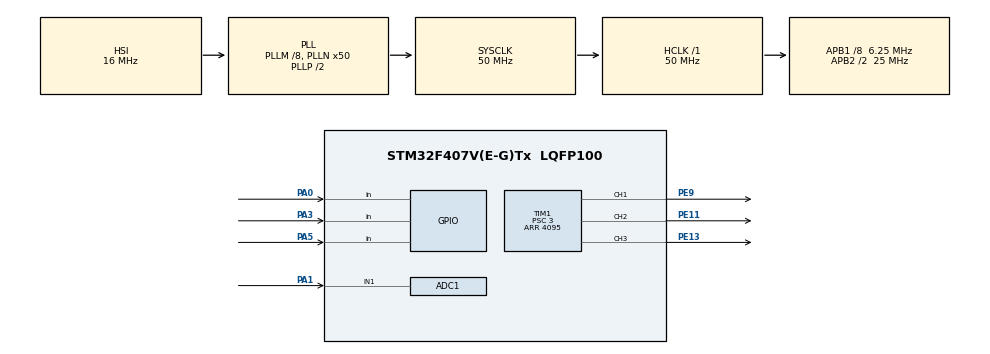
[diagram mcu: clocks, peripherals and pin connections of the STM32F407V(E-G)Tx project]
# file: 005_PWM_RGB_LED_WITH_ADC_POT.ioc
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ADC1.Channel-2\#ChannelRegularConversion=ADC_CHANNEL_1
ADC1.ContinuousConvMode=ENABLE
ADC1.NbrOfConversionFlag=1
ADC1.Rank-2\#ChannelRegularConversion=1
ADC1.SamplingTime-2\#ChannelRegularConversion=ADC_SAMPLETIME_3CYCLES
ADC1.master=1
Mcu.Family=STM32F4
Mcu.Name=STM32F407V(E-G)Tx
Mcu.Package=LQFP100
NVIC.PriorityGroup=NVIC_PRIORITYGROUP_0
PA0-WKUP.Signal=GPIO_Input
PA1.Signal=ADCx_IN1
PA3.GPIO_PuPd=GPIO_PULLDOWN
PA3.Signal=GPIO_Input
PA5.GPIO_PuPd=GPIO_PULLDOWN
PA5.Signal=GPIO_Input
PE11.Signal=S_TIM1_CH2
PE13.Signal=S_TIM1_CH3
PE9.Signal=S_TIM1_CH1
PH0-OSC_IN.Mode=HSE-External-Oscillator
PH0-OSC_IN.Signal=RCC_OSC_IN
PH1-OSC_OUT.Mode=HSE-External-Oscillator
PH1-OSC_OUT.Signal=RCC_OSC_OUT
ProjectManager.HeapSize=0x200
ProjectManager.StackSize=0x400
ProjectManager.TargetToolchain=STM32CubeIDE
RCC.48MHZClocksFreq_Value=14285714.285714285
RCC.AHBFreq_Value=50000000
RCC.APB1CLKDivider=RCC_HCLK_DIV8
RCC.APB1Freq_Value=6250000
RCC.APB1TimFreq_Value=12500000
RCC.APB2CLKDivider=RCC_HCLK_DIV2
RCC.APB2Freq_Value=25000000
RCC.APB2TimFreq_Value=50000000
RCC.CortexFreq_Value=50000000
RCC.HCLKFreq_Value=50000000
RCC.HSE_VALUE=8000000
RCC.HSI_VALUE=16000000
RCC.LSE_VALUE=32768
RCC.PLLM=8
RCC.PLLN=50
RCC.PLLQ=7
RCC.SYSCLKFreq_VALUE=50000000
RCC.SYSCLKSource=RCC_SYSCLKSOURCE_PLLCLK
RCC.VCOOutputFreq_Value=100000000
SH.ADCx_IN1.0=ADC1_IN1,IN1
SH.S_TIM1_CH1.0=TIM1_CH1,PWM Generation1 CH1
SH.S_TIM1_CH2.0=TIM1_CH2,PWM Generation2 CH2
SH.S_TIM1_CH3.0=TIM1_CH3,PWM Generation3 CH3
TIM1.Channel-PWM\ Generation1\ CH1=TIM_CHANNEL_1
TIM1.Channel-PWM\ Generation2\ CH2=TIM_CHANNEL_2
TIM1.Channel-PWM\ Generation3\ CH3=TIM_CHANNEL_3
TIM1.Period=4095
TIM1.Prescaler=3
VP_TIM1_VS_ClockSourceINT.Mode=Internal
board=STM32F407G-DISC1

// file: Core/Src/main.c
/* USER CODE BEGIN Header */
/**
  ******************************************************************************
  * @file           : main.c
  * @brief          : Main program body
  ******************************************************************************
  * @attention
  *
  * Copyright (c) 2023 STMicroelectronics.
  * All rights reserved.
  *
  * This software is licensed under terms that can be found in the LICENSE file
  * in the root directory of this software component.
  * If no LICENSE file comes with this software, it is provided AS-IS.
  *
  ******************************************************************************
  */
/* USER CODE END Header */
#include "main.h"

ADC_HandleTypeDef hadc1;

TIM_HandleTypeDef htim1;

/* USER CODE BEGIN PV */

uint16_t adc_value, adc_value_R, adc_value_G, adc_value_B;
int count,color_sr;

/* USER CODE END PV */

void SystemClock_Config(void);
static void MX_GPIO_Init(void);
static void MX_ADC1_Init(void);
static void MX_TIM1_Init(void);

int main(void)
{

  /* MCU Configuration--------------------------------------------------------*/

  /* Reset of all peripherals, Initializes the Flash interface and the Systick. */
  HAL_Init();

  /* Configure the system clock */
  SystemClock_Config();

  /* Initialize all configured peripherals */
  MX_GPIO_Init();
  MX_ADC1_Init();
  MX_TIM1_Init();
  /* USER CODE BEGIN 2 */

  HAL_TIM_PWM_Start(&htim1, TIM_CHANNEL_1);		// R Channel Start
  HAL_TIM_PWM_Start(&htim1, TIM_CHANNEL_2);		// G Channel Start
  HAL_TIM_PWM_Start(&htim1, TIM_CHANNEL_3);		// B Channel Start
  adc_value = 0;								// With first energy ADC_value = 0
  adc_value_R = 0;
  adc_value_G = 0;
  adc_value_B = 0;
  count = 0;
  color_sr = 1;

  /* USER CODE END 2 */

  /* Infinite loop */
  while (1)
  {

    /* USER CODE BEGIN 3 */

	  HAL_ADC_Start(&hadc1);								// Start the ADC1.
	  HAL_ADC_PollForConversion(&hadc1, HAL_MAX_DELAY); 	// Using ADC with polling mode.
//	  adc_value = HAL_ADC_GetValue(&hadc1);					// Get the ADC value in polling mode.

	  if (HAL_GPIO_ReadPin(GPIOA, GPIO_PIN_3)){				// GPIOA_Pin_3 == 1 it means if you push button_1, runing in this if function.
		  HAL_Delay(200);									// Added delay function for count value increase one by one.
		  count ++;
	  }

	  if (HAL_GPIO_ReadPin(GPIOA, GPIO_PIN_5)){				// Push the button_2
		  color_sr = 2;
	  }

/****  Asagida belirtilen kosul sadece button_2 kosulundan önce belirtilmis olsaydi c program akış hiyerarşisi ve calisma hizinden dolayı belirtilen islem gerceklesmezdi  ****/
	  if ((HAL_GPIO_ReadPin(GPIOA, GPIO_PIN_3)) && (HAL_GPIO_ReadPin(GPIOA, GPIO_PIN_5))){		//  Push both of the buttons (button_1 + button_2)
		  color_sr = 1;
	  }

	  switch (color_sr)
	  {
	  case 1:
		  if (count%3 == 0){													// Case 1 => Set the Red colour.
	  		  adc_value_R = HAL_ADC_GetValue(&hadc1);
	  		  __HAL_TIM_SET_COMPARE(&htim1, TIM_CHANNEL_1, adc_value_R);		// Write the value in TIM_PWM_Ch1
	  		  __HAL_TIM_SET_COMPARE(&htim1, TIM_CHANNEL_2, adc_value_G);		// Write the value in TIM_PWM_Ch1
	  		  __HAL_TIM_SET_COMPARE(&htim1, TIM_CHANNEL_3, adc_value_B);		// Write the value in TIM_PWM_Ch1
	  		  HAL_Delay(10);
		  	  }

		  else if (count%3 == 1){												// Case 2 => Set the Green colour.
	  		  adc_value_G = HAL_ADC_GetValue(&hadc1);
	  		  __HAL_TIM_SET_COMPARE(&htim1, TIM_CHANNEL_1, adc_value_R);		// Write the value in TIM_PWM_Ch1
	  		  __HAL_TIM_SET_COMPARE(&htim1, TIM_CHANNEL_2, adc_value_G);		// Write the value in TIM_PWM_Ch1
	  		  __HAL_TIM_SET_COMPARE(&htim1, TIM_CHANNEL_3, adc_value_B);		// Write the value in TIM_PWM_Ch1
	  		  HAL_Delay(10);
		  	  }

		  else if (count%3 == 2){												// Case 3 => Set the Blue colour.
	  		  adc_value_B = HAL_ADC_GetValue(&hadc1);
	  		  __HAL_TIM_SET_COMPARE(&htim1, TIM_CHANNEL_1, adc_value_R);		// Write the value in TIM_PWM_Ch1
	  		  __HAL_TIM_SET_COMPARE(&htim1, TIM_CHANNEL_2, adc_value_G);		// Write the value in TIM_PWM_Ch1
	  		  __HAL_TIM_SET_COMPARE(&htim1, TIM_CHANNEL_3, adc_value_B);		// Write the value in TIM_PWM_Ch1
	  		  HAL_Delay(10);
		  	  }
	  break;

	  case 2:
		  __HAL_TIM_SET_COMPARE(&htim1, TIM_CHANNEL_1, adc_value_R);			// Write the value in TIM_PWM_Ch1
		  __HAL_TIM_SET_COMPARE(&htim1, TIM_CHANNEL_2, adc_value_G);			// Write the value in TIM_PWM_Ch1
		  __HAL_TIM_SET_COMPARE(&htim1, TIM_CHANNEL_3, adc_value_B);			// Write the value in TIM_PWM_Ch1
		  HAL_Delay(10);
	  break;
	  }

  }

  /* USER CODE END 3 */
}

void SystemClock_Config(void)
{
  RCC_OscInitTypeDef RCC_OscInitStruct = {0};
  RCC_ClkInitTypeDef RCC_ClkInitStruct = {0};

  /** Configure the main internal regulator output voltage
  */
  __HAL_RCC_PWR_CLK_ENABLE();
  __HAL_PWR_VOLTAGESCALING_CONFIG(PWR_REGULATOR_VOLTAGE_SCALE1);

  /** Initializes the RCC Oscillators according to the specified parameters
  * in the RCC_OscInitTypeDef structure.
  */
  RCC_OscInitStruct.OscillatorType = RCC_OSCILLATORTYPE_HSI;
  RCC_OscInitStruct.HSIState = RCC_HSI_ON;
  RCC_OscInitStruct.HSICalibrationValue = RCC_HSICALIBRATION_DEFAULT;
  RCC_OscInitStruct.PLL.PLLState = RCC_PLL_ON;
  RCC_OscInitStruct.PLL.PLLSource = RCC_PLLSOURCE_HSI;
  RCC_OscInitStruct.PLL.PLLM = 8;
  RCC_OscInitStruct.PLL.PLLN = 50;
  RCC_OscInitStruct.PLL.PLLP = RCC_PLLP_DIV2;
  RCC_OscInitStruct.PLL.PLLQ = 7;
  if (HAL_RCC_OscConfig(&RCC_OscInitStruct) != HAL_OK)
  {
    Error_Handler();
  }

  /** Initializes the CPU, AHB and APB buses clocks
  */
  RCC_ClkInitStruct.ClockType = RCC_CLOCKTYPE_HCLK|RCC_CLOCKTYPE_SYSCLK
                              |RCC_CLOCKTYPE_PCLK1|RCC_CLOCKTYPE_PCLK2;
  RCC_ClkInitStruct.SYSCLKSource = RCC_SYSCLKSOURCE_PLLCLK;
  RCC_ClkInitStruct.AHBCLKDivider = RCC_SYSCLK_DIV1;
  RCC_ClkInitStruct.APB1CLKDivider = RCC_HCLK_DIV8;
  RCC_ClkInitStruct.APB2CLKDivider = RCC_HCLK_DIV2;

  if (HAL_RCC_ClockConfig(&RCC_ClkInitStruct, FLASH_LATENCY_1) != HAL_OK)
  {
    Error_Handler();
  }
}

static void MX_ADC1_Init(void)
{

  ADC_ChannelConfTypeDef sConfig = {0};

  /** Configure the global features of the ADC (Clock, Resolution, Data Alignment and number of conversion)
  */
  hadc1.Instance = ADC1;
  hadc1.Init.ClockPrescaler = ADC_CLOCK_SYNC_PCLK_DIV2;
  hadc1.Init.Resolution = ADC_RESOLUTION_12B;
  hadc1.Init.ScanConvMode = DISABLE;
  hadc1.Init.ContinuousConvMode = ENABLE;
  hadc1.Init.DiscontinuousConvMode = DISABLE;
  hadc1.Init.ExternalTrigConvEdge = ADC_EXTERNALTRIGCONVEDGE_NONE;
  hadc1.Init.ExternalTrigConv = ADC_SOFTWARE_START;
  hadc1.Init.DataAlign = ADC_DATAALIGN_RIGHT;
  hadc1.Init.NbrOfConversion = 1;
  hadc1.Init.DMAContinuousRequests = DISABLE;
  hadc1.Init.EOCSelection = ADC_EOC_SINGLE_CONV;
  if (HAL_ADC_Init(&hadc1) != HAL_OK)
  {
    Error_Handler();
  }

  /** Configure for the selected ADC regular channel its corresponding rank in the sequencer and its sample time.
  */
  sConfig.Channel = ADC_CHANNEL_1;
  sConfig.Rank = 1;
  sConfig.SamplingTime = ADC_SAMPLETIME_3CYCLES;
  if (HAL_ADC_ConfigChannel(&hadc1, &sConfig) != HAL_OK)
  {
    Error_Handler();
  }

}

static void MX_TIM1_Init(void)
{

  TIM_ClockConfigTypeDef sClockSourceConfig = {0};
  TIM_MasterConfigTypeDef sMasterConfig = {0};
  TIM_OC_InitTypeDef sConfigOC = {0};
  TIM_BreakDeadTimeConfigTypeDef sBreakDeadTimeConfig = {0};

  htim1.Instance = TIM1;
  htim1.Init.Prescaler = 3;
  htim1.Init.CounterMode = TIM_COUNTERMODE_UP;
  htim1.Init.Period = 4095;
  htim1.Init.ClockDivision = TIM_CLOCKDIVISION_DIV1;
  htim1.Init.RepetitionCounter = 0;
  htim1.Init.AutoReloadPreload = TIM_AUTORELOAD_PRELOAD_DISABLE;
  if (HAL_TIM_Base_Init(&htim1) != HAL_OK)
  {
    Error_Handler();
  }
  sClockSourceConfig.ClockSource = TIM_CLOCKSOURCE_INTERNAL;
  if (HAL_TIM_ConfigClockSource(&htim1, &sClockSourceConfig) != HAL_OK)
  {
    Error_Handler();
  }
  if (HAL_TIM_PWM_Init(&htim1) != HAL_OK)
  {
    Error_Handler();
  }
  sMasterConfig.MasterOutputTrigger = TIM_TRGO_RESET;
  sMasterConfig.MasterSlaveMode = TIM_MASTERSLAVEMODE_DISABLE;
  if (HAL_TIMEx_MasterConfigSynchronization(&htim1, &sMasterConfig) != HAL_OK)
  {
    Error_Handler();
  }
  sConfigOC.OCMode = TIM_OCMODE_PWM1;
  sConfigOC.Pulse = 0;
  sConfigOC.OCPolarity = TIM_OCPOLARITY_HIGH;
  sConfigOC.OCNPolarity = TIM_OCNPOLARITY_HIGH;
  sConfigOC.OCFastMode = TIM_OCFAST_DISABLE;
  sConfigOC.OCIdleState = TIM_OCIDLESTATE_RESET;
  sConfigOC.OCNIdleState = TIM_OCNIDLESTATE_RESET;
  if (HAL_TIM_PWM_ConfigChannel(&htim1, &sConfigOC, TIM_CHANNEL_1) != HAL_OK)
  {
    Error_Handler();
  }
  if (HAL_TIM_PWM_ConfigChannel(&htim1, &sConfigOC, TIM_CHANNEL_2) != HAL_OK)
  {
    Error_Handler();
  }
  if (HAL_TIM_PWM_ConfigChannel(&htim1, &sConfigOC, TIM_CHANNEL_3) != HAL_OK)
  {
    Error_Handler();
  }
  sBreakDeadTimeConfig.OffStateRunMode = TIM_OSSR_DISABLE;
  sBreakDeadTimeConfig.OffStateIDLEMode = TIM_OSSI_DISABLE;
  sBreakDeadTimeConfig.LockLevel = TIM_LOCKLEVEL_OFF;
  sBreakDeadTimeConfig.DeadTime = 0;
  sBreakDeadTimeConfig.BreakState = TIM_BREAK_DISABLE;
  sBreakDeadTimeConfig.BreakPolarity = TIM_BREAKPOLARITY_HIGH;
  sBreakDeadTimeConfig.AutomaticOutput = TIM_AUTOMATICOUTPUT_DISABLE;
  if (HAL_TIMEx_ConfigBreakDeadTime(&htim1, &sBreakDeadTimeConfig) != HAL_OK)
  {
    Error_Handler();
  }
  HAL_TIM_MspPostInit(&htim1);

}

static void MX_GPIO_Init(void)
{
  GPIO_InitTypeDef GPIO_InitStruct = {0};

  /* GPIO Ports Clock Enable */
  __HAL_RCC_GPIOH_CLK_ENABLE();
  __HAL_RCC_GPIOA_CLK_ENABLE();
  __HAL_RCC_GPIOE_CLK_ENABLE();

  /*Configure GPIO pin : PA0 */
  GPIO_InitStruct.Pin = GPIO_PIN_0;
  GPIO_InitStruct.Mode = GPIO_MODE_INPUT;
  GPIO_InitStruct.Pull = GPIO_NOPULL;
  HAL_GPIO_Init(GPIOA, &GPIO_InitStruct);

  /*Configure GPIO pins : PA3 PA5 */
  GPIO_InitStruct.Pin = GPIO_PIN_3|GPIO_PIN_5;
  GPIO_InitStruct.Mode = GPIO_MODE_INPUT;
  GPIO_InitStruct.Pull = GPIO_PULLDOWN;
  HAL_GPIO_Init(GPIOA, &GPIO_InitStruct);

}

void Error_Handler(void)
{
  __disable_irq();
  while (1)
  {
  }
}
